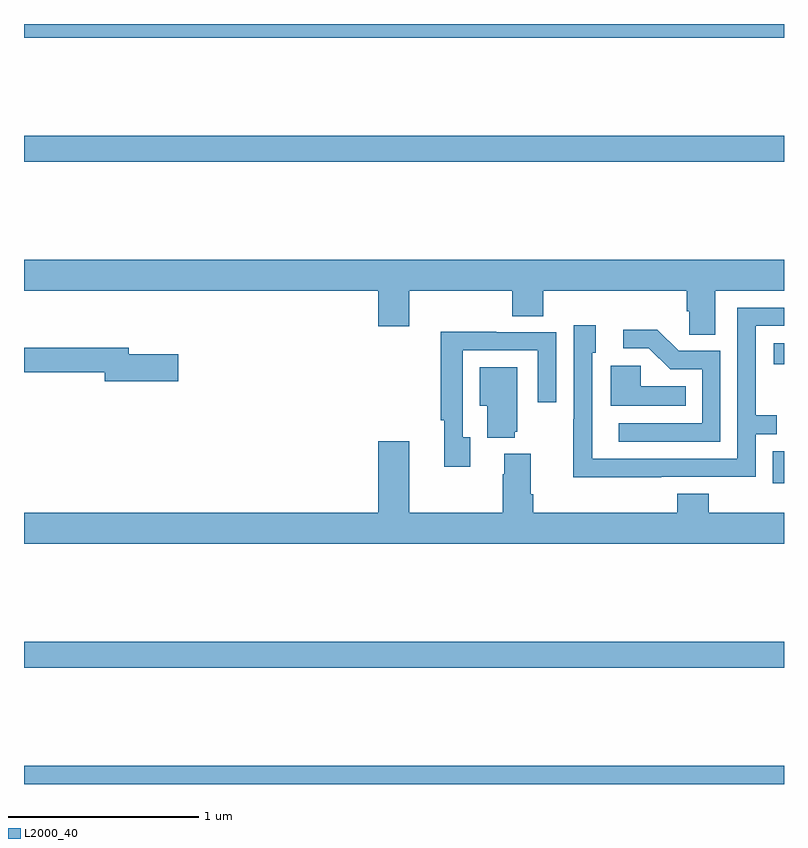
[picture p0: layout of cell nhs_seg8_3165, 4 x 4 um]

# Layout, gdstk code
import gdstk
lib = gdstk.Library(unit=1e-6, precision=1e-09)
def R(c, l, rs):  # rectangles x0, y0, x1, y1
    for r in rs: c.add(gdstk.rectangle(r[:2], r[2:], *l))
def P(c, l, *ps):  # polygons
    for p in ps: c.add(gdstk.Polygon(p, *l))
L2000_40 = (2000, 40)

nhs_seg8_3165 = lib.new_cell('nhs_seg8_3165')
R(nhs_seg8_3165, L2000_40, [(307,1117.9,311,1117.996), (307,1118.512,311,1118.648), (310.941,1119.483,311,1119.651), (310.947,1120.109,311,1120.219), (307,1121.176,311,1121.312), (307,1121.828,311,1121.9)])
P(nhs_seg8_3165, L2000_40, [(310.639,1120.496),(311,1120.496),(311,1120.66),(307,1120.66),(307,1120.496),(308.864,1120.496),(308.864,1120.308),(309.028,1120.308),(309.028,1120.496),(309.569,1120.496),(309.569,1120.363),(309.734,1120.363),(309.734,1120.496),(310.487,1120.496),(310.487,1120.387),(310.5,1120.387),(310.5,1120.264),(310.639,1120.264)],
  [(310.355,1119.516),(310.851,1119.516),(310.851,1119.741),(310.961,1119.741),(310.961,1119.842),(310.851,1119.842),(310.851,1120.311),(311,1120.311),(311,1120.407),(310.755,1120.407),(310.755,1119.612),(309.991,1119.612),(309.991,1119.866),(309.99,1119.866),(309.99,1120.17),(310.009,1120.17),(310.009,1120.315),(309.894,1120.315),(309.894,1119.821),(309.892,1119.821),(309.892,1119.515),(310.355,1119.515)],
  [(310.665,1120.179),(310.446,1120.179),(310.333,1120.292),(310.155,1120.292),(310.155,1120.194),(310.289,1120.194),(310.4,1120.083),(310.569,1120.083),(310.569,1119.798),(310.131,1119.798),(310.131,1119.702),(310.665,1119.702)],
  [(309.349,1119.726),(309.309,1119.726),(309.309,1120.182),(309.705,1120.182),(309.705,1119.909),(309.801,1119.909),(309.801,1120.278),(309.485,1120.278),(309.485,1120.28),(309.193,1120.28),(309.193,1119.814),(309.212,1119.814),(309.212,1119.57),(309.349,1119.57)],
  [(307.813,1120.161),(307.552,1120.161),(307.552,1120.195),(307,1120.195),(307,1120.066),(307.424,1120.066),(307.424,1120.019),(307.813,1120.019)],
  [(310.484,1119.994),(310.245,1119.994),(310.245,1120.102),(310.088,1120.102),(310.088,1119.89),(310.484,1119.89)],
  [(309.584,1119.753),(309.595,1119.753),(309.595,1120.093),(309.398,1120.093),(309.398,1119.89),(309.437,1119.89),(309.437,1119.722),(309.584,1119.722)],
  [(311,1119.328),(310.604,1119.328),(310.604,1119.427),(310.439,1119.427),(310.439,1119.328),(309.68,1119.328),(309.68,1119.424),(309.667,1119.424),(309.667,1119.637),(309.527,1119.637),(309.527,1119.53),(309.52,1119.53),(309.52,1119.328),(309.028,1119.328),(309.028,1119.703),(308.864,1119.703),(308.864,1119.328),(307,1119.328),(307,1119.164),(311,1119.164)])

lib.write_gds('nhs_seg8_3165.gds')
